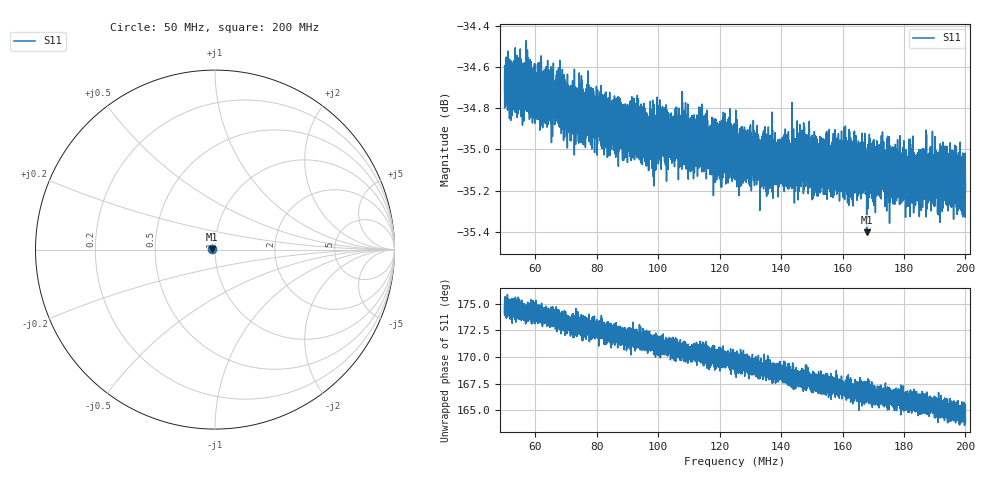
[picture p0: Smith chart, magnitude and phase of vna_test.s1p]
! COPPER MOUNTAIN TECHNOLOGIES, PLANAR TR1300/1, 00071119, 20.2.2/1.0
! Date: 12/11/2023 3:37:49 PM
! Data: Format [Calibration Info]
! Freq  S11: Re/Im F1
# HZ S RI R 50
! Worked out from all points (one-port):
!   12288 points, 50 MHz to 200 MHz, reference 50 ohm
!   lowest |S11| = -35.4 dB at 167.9 MHz (marker M1), VSWR 1.03, Z = 48.4 + j0.383 ohm
!   |S11| at or under -10 dB: start of sweep to end of sweep
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5e7  -0.0183 0.0017
5.074469e7  -0.0185 0.0017
5.222186e7  -0.0182 0.00177
5.628713e7  -0.0183 0.00204
5.720273e7  -0.0185 0.00194
5.870432e7  -0.0185 0.00192
6.74941e7  -0.018 0.00178
6.875153e7  -0.0181 0.00196
7.337837e7  -0.018 0.00201
8.102059e7  -0.018 0.00256
8.410922e7  -0.0178 0.00262
8.750305e7  -0.0179 0.00229
1.02409e8  -0.0177 0.0028
1.062546e8  -0.0176 0.00282
1.250061e8  -0.0174 0.00337
1.437576e8  -0.0174 0.00324
1.488118e8  -0.0173 0.00336
1.519004e8  -0.0172 0.00355
1.533531e8  -0.0175 0.0039
1.625092e8  -0.0173 0.00388
1.678685e8  -0.0165 0.00396
1.726784e8  -0.0173 0.0044
1.812607e8  -0.0171 0.00433
1.870595e8  -0.017 0.00459
1.896354e8  -0.0167 0.00428
1.934321e8  -0.0168 0.00451
1.957028e8  -0.0167 0.00449
2e8  -0.0168 0.00473
